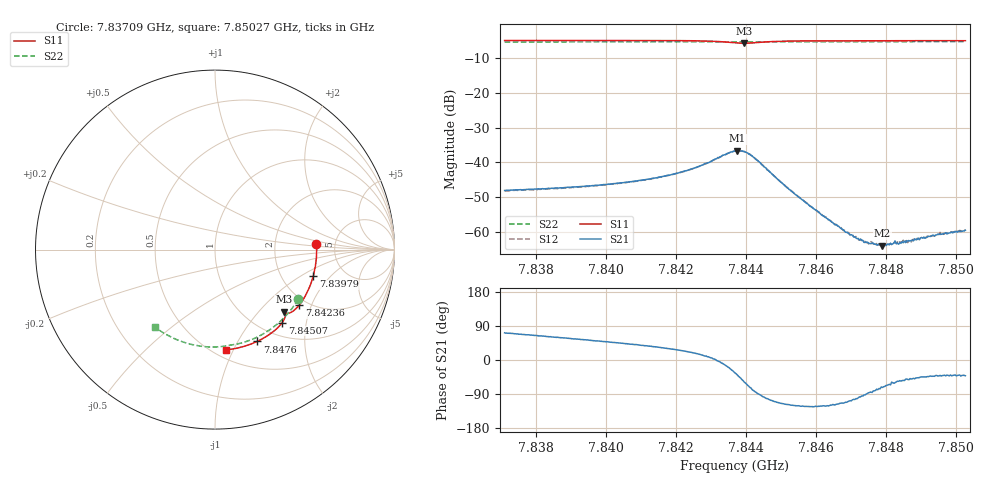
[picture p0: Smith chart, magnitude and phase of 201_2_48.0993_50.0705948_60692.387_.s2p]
#  HZ  S  RI  R  50.00
! Rohde & Schwarz Vector Network Analyzer
! Rohde-Schwarz,ZNB20-2Port,1311601062101988,3.16
! Created: UTC 12/23/2023, 3:54:45 AM
! freq[Hz]  re:S11  im:S11  re:S21  im:S21  re:S12  im:S12  re:S22  im:S22
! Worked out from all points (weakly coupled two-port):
!   401 points, 7.83709 GHz to 7.85027 GHz, reference 50 ohm
!   highest |S21| = -36.59 dB at 7.84375 GHz (marker M1); lowest = -64.0 dB at 7.8479 GHz (marker M2)
!   lowest |S11| = -5.7 dB at 7.84395 GHz (marker M3), VSWR 3.13, Z = 73.3 - j69.2 ohm
!   |S11| at or under -10 dB: nowhere
!   |S22| runs from -5.4 to -5.3 dB; largest |S21 - S12| = 0.00033
!   S11 on the Smith chart (normalised r, x): 7.83709 GHz: 3.58, +0.32; 7.83979 GHz: 2.99, -1.31; 7.84236 GHz: 1.81, -1.64; 7.84507 GHz: 1.25, -1.46; 7.8476 GHz: 0.81, -1.21; 7.85027 GHz: 0.57, -0.94
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7.837091e9  0.5654 0.03  0.00124 0.00375  0.00127 0.00367  0.4638 -0.2755
7.839299e9  0.5549 -0.1165  0.00264 0.00366  0.0026 0.0036  0.3676 -0.3962
7.839794e9  0.547 -0.1487  0.00303 0.00362  0.00302 0.00358  0.3417 -0.4189
7.841507e9  0.5034 -0.2577  0.0051 0.00339  0.00508 0.00337  0.2411 -0.4845
7.842364e9  0.4696 -0.3091  0.00728 0.00285  0.00725 0.00281  0.1859 -0.5084
7.843188e9  0.421 -0.3509  0.0118 -0.000543  0.0114 -0.000443  0.1301 -0.5245
7.843682e9  0.3866 -0.353  0.0121 -0.0082  0.012 -0.00804  0.097 -0.5303
7.843748e9  0.384 -0.3511  0.0114 -0.00939  0.0114 -0.0092  0.0928 -0.531
7.843946e9  0.3831 -0.346  0.00755 -0.0122  0.00761 -0.0121  0.0803 -0.533
7.844276e9  0.3912 -0.354  0.00102 -0.011  0.00113 -0.0112  0.059 -0.5371
7.845067e9  0.3749 -0.4062  -0.00208 -0.00438  -0.00206 -0.00439  0.00373 -0.5428
7.84589e9  0.334 -0.4494  -0.00123 -0.00189  -0.00122 -0.00189  -0.0545 -0.5408
7.847044e9  0.2685 -0.4942  -0.000231 -0.000861  -0.000232 -0.000883  -0.1343 -0.5276
7.847275e9  0.2547 -0.5016  -0.000101 -0.000784  -8.6e-05 -0.000756  -0.1498 -0.5235
7.847604e9  0.2347 -0.5117  5.12e-05 -0.000682  8.26e-05 -0.000705  -0.1722 -0.5168
7.847901e9  0.2166 -0.5197  0.00019 -0.000602  0.000236 -0.000626  -0.1919 -0.5101
7.848099e9  0.2042 -0.5247  0.000287 -0.000588  0.000284 -0.000603  -0.2047 -0.5051
7.848494e9  0.1792 -0.5336  0.000413 -0.000565  0.000454 -0.000609  -0.2304 -0.4943
7.848659e9  0.1687 -0.5371  0.00046 -0.000588  0.00048 -0.000585  -0.2409 -0.4893
7.848824e9  0.1582 -0.5402  0.000516 -0.000606  0.000498 -0.000598  -0.2512 -0.484
7.849483e9  0.1157 -0.5507  0.000686 -0.000621  0.000709 -0.000585  -0.2914 -0.4614
7.850274e9  0.0637 -0.5589  0.000793 -0.000703  0.000807 -0.000705  -0.3369 -0.4298
